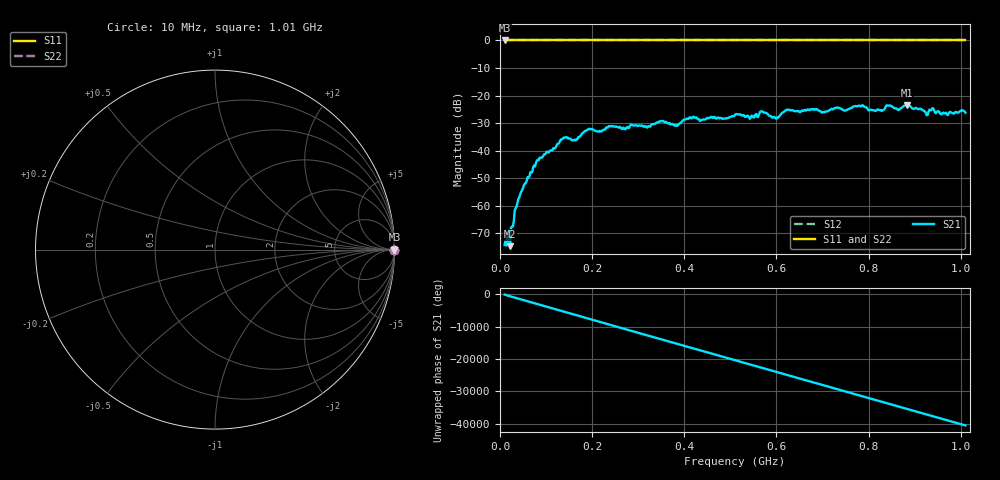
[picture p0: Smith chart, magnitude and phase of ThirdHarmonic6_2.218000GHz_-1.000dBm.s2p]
! 8/17/2025 2:25:19 AM
! C:\ANRITSUVNA\TEMP\TEMP.S2P
! CHANNEL.1
! TR.MEASUREMENT
! RAW.DATA
! RF.CORRECTION.OFF
! AVERAGING.OFF
! IF.BANDWIDTH: 5KHZ
! SWEEPTYPE:  FREQ.SWEEP(Linear)
! Reference Plane Port Info
! PORT:  PORT1  PORT2
! DISTANCE:  0  m  0  m
! TIME:  0  s  0  s
! PHASE.OFFSET:  0  deg.  0  deg.
! LOSS:  0  dB  0  dB
! REF.LOSS:  0  dB  0  dB
! REF.FREQ:  0  Hz  0  Hz
! Power Info
! POWER:  -20  dBm  -20  dBm
! EFF.POWER:  -20  dBm  -20  dBm
! SOURCE.ATTEN:  0  dB  0  dB
! TEST.ATTEN:  0  dB  0  dB
# GHZ S RI R 50.0
! FREQ.GHZ  S11RE  S11IM  S21RE  S21IM  S12RE  S12IM  S22RE  S22IM
!; PortSelection: Port_12
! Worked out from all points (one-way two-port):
!   501 points, 10 MHz to 1.01 GHz, reference 50 ohm
!   highest |S21| = -23.40 dB at 884 MHz (marker M1); lowest = -74.7 dB at 22 MHz (marker M2)
!   lowest |S11| = 0.0 dB at 10 MHz (marker M3)
!   |S11| at or under -10 dB: nowhere
!   |S22| runs from 0.0 to 0.0 dB; largest |S21 - S12| = 1.1
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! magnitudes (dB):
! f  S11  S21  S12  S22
! 10 MHz  0.0  -74.3  0.0  0.0
! 22 MHz  0.0  -74.7  0.0  0.0
! 42 MHz  0.0  -56.9  0.0  0.0
! 82 MHz  0.0  -43.3  0.0  0.0
! 136 MHz  0.0  -35.7  0.0  0.0
! 162 MHz  0.0  -36.0  0.0  0.0
! 178 MHz  0.0  -33.8  0.0  0.0
! 344 MHz  0.0  -29.7  0.0  0.0
! 382 MHz  0.0  -30.6  0.0  0.0
! 416 MHz  0.0  -28.3  0.0  0.0
! 510 MHz  0.0  -27.0  0.0  0.0
! 546 MHz  0.0  -27.3  0.0  0.0
! 568 MHz  0.0  -25.7  0.0  0.0
! 600 MHz  0.0  -28.4  0.0  0.0
! 624 MHz  0.0  -25.3  0.0  0.0
! 678 MHz  0.0  -25.0  0.0  0.0
! 784 MHz  0.0  -23.9  0.0  0.0
! 828 MHz  0.0  -25.6  0.0  0.0
! 844 MHz  0.0  -23.7  0.0  0.0
! 884 MHz  0.0  -23.4  0.0  0.0
! 926 MHz  0.0  -27.2  0.0  0.0
! 1.01 GHz  0.0  -26.2  0.0  0.0
